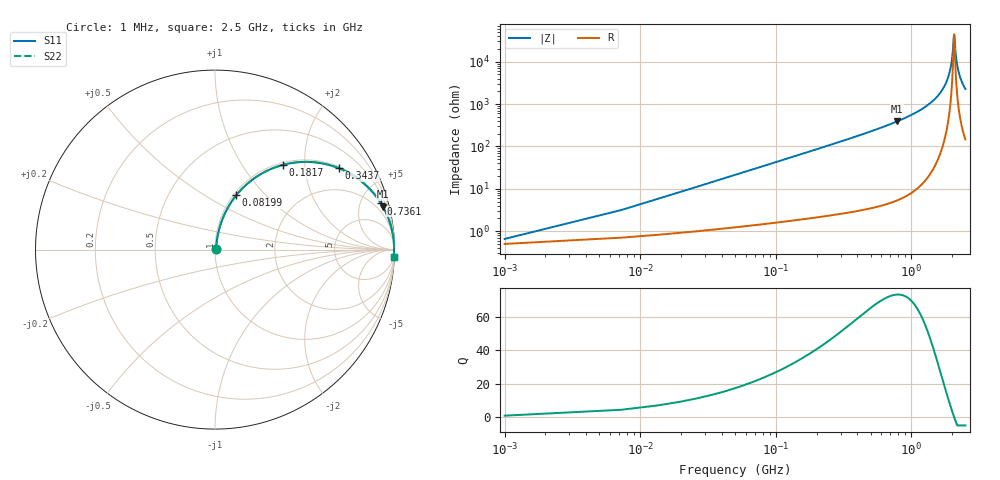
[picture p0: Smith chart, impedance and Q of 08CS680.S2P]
! Coilcraft 0805CS-680 Chip Inductor
! 11 June 2002
# MHZ S MA R 50
!Freq  MagS11  AngS11  MagS21  AngS21  MagS12  AngS12  MagS22  AngS22
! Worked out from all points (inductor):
!   403 points, 1 MHz to 2.5 GHz, reference 50 ohm
!   read as one part in series: L = 67.5 nH near 13.46 MHz
!   highest Q = 73.2 at 786 MHz (marker M1), where L = 78.9 nH
!   self-resonance near 2.063 GHz
!   S11 on the Smith chart (normalised r, x): 1 MHz: 1.01, +0.01; 81.99 MHz: 1.03, +0.70; 181.7 MHz: 1.04, +1.55; 343.6 MHz: 1.05, +3.00; 736.1 MHz: 1.10, +7.15; 2.5 GHz: 4, -45
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1  0.006524 40.1  0.995 -0.2  0.995 -0.2  0.006524 40.1
19.69  0.08297 79.0  0.9876 -4.7  0.9876 -4.7  0.08297 79.0
25.92  0.1087 78.6  0.9844 -6.2  0.9844 -6.2  0.1087 78.6
50.84  0.2088 74.7  0.9661 -12.0  0.9661 -12.0  0.2088 74.7
81.99  0.3249 68.6  0.9321 -18.9  0.9321 -18.9  0.3249 68.6
181.67  0.6058 51.2  0.78 -37.3  0.78 -37.3  0.6058 51.2
343.65  0.825 33.4  0.5503 -55.6  0.5503 -55.6  0.825 33.4
418.41  0.8737 28.2  0.4721 -60.9  0.4721 -60.9  0.8737 28.2
736.14  0.9597 15.6  0.2683 -73.7  0.2683 -73.7  0.9597 15.6
785.98  0.9655 14.3  0.2477 -74.9  0.2477 -74.9  0.9655 14.3
835.82  0.9703 13.2  0.2289 -76.0  0.2289 -76.0  0.9703 13.2
1253.23  0.9909 6.8  0.1178 -82.2  0.1178 -82.2  0.9909 6.8
1670.64  0.9968 2.8  0.04865 -84.9  0.04865 -84.9  0.9968 2.8
1901.15  0.9977 1.1  0.01899 -82.5  0.01899 -82.5  0.9977 1.1
1988.37  0.9978 0.5  0.008911 -75.2  0.008911 -75.2  0.9978 0.5
2056.9  0.9977 0.1  0.00244 -22.0  0.00244 -22.0  0.9977 0.1
2069.36  0.9977 -0.0  0.00232 11.4  0.00232 11.4  0.9977 -0.0
2088.05  0.9977 -0.1  0.003398 47.4  0.003398 47.4  0.9977 -0.1
2144.12  0.9976 -0.5  0.008862 74.1  0.008862 74.1  0.9976 -0.5
2218.88  0.9974 -0.9  0.01654 80.6  0.01654 80.6  0.9974 -0.9
2337.25  0.997 -1.6  0.02836 83.1  0.02836 83.1  0.997 -1.6
2500  0.9962 -2.5  0.04381 83.8  0.04381 83.8  0.9962 -2.5
